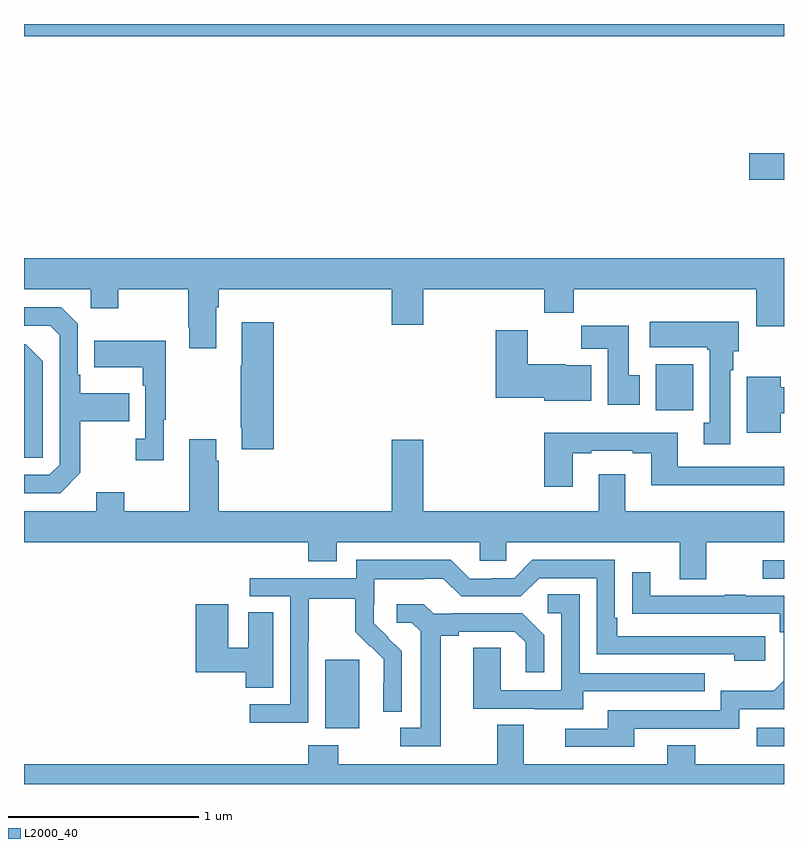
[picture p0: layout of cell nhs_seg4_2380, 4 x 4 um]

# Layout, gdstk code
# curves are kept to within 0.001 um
import gdstk
lib = gdstk.Library(unit=1e-6, precision=1e-09)
def R(c, l, rs):  # rectangles x0, y0, x1, y1
    for r in rs: c.add(gdstk.rectangle(r[:2], r[2:], *l))
def P(c, l, *ps):  # polygons
    for p in ps: c.add(gdstk.Polygon(p, *l))
L2000_40 = (2000, 40)

nhs_seg4_2380 = lib.new_cell('nhs_seg4_2380')
R(nhs_seg4_2380, L2000_40, [(238.857,777.099,239,777.195), (236.585,777.194,236.764,777.555), (238.887,777.981,239,778.077), (238.325,778.868,238.522,779.11), (238.818,780.079,239,780.221), (235,780.836,239,780.9)])
P(nhs_seg4_2380, L2000_40, [(236.011,779.408),(236.024,779.408),(236.024,779.504),(236.936,779.504),(236.936,779.316),(237.1,779.316),(237.1,779.504),(237.737,779.504),(237.737,779.38),(237.893,779.38),(237.893,779.504),(238.853,779.504),(238.853,779.31),(239,779.31),(239,779.668),(235,779.668),(235,779.504),(235.35,779.504),(235.35,779.405),(235.497,779.405),(235.497,779.504),(235.864,779.504),(235.864,779.305),(235.871,779.305),(235.871,779.193),(236.011,779.193)],
  [(235.297,778.537),(235.297,778.81),(235.553,778.81),(235.553,778.957),(235.297,778.957),(235.297,779.053),(235.284,779.053),(235.284,779.322),(235.197,779.409),(235,779.409),(235,779.313),(235.137,779.313),(235.188,779.262),(235.188,778.581),(235.134,778.527),(235,778.527),(235,778.431),(235.191,778.431)],
  [(238.717,779.078),(238.732,779.078),(238.732,779.178),(238.762,779.178),(238.762,779.332),(238.293,779.332),(238.293,779.198),(238.597,779.198),(238.597,779.185),(238.61,779.185),(238.61,778.802),(238.577,778.802),(238.577,778.689),(238.717,778.689)],
  [(236.315,779.329),(236.147,779.329),(236.147,779.105),(236.14,779.105),(236.14,778.774),(236.147,778.774),(236.147,778.662),(236.315,778.662)],
  [(238.24,779.052),(238.183,779.052),(238.183,779.311),(237.934,779.311),(237.934,779.192),(238.073,779.192),(238.073,778.896),(238.24,778.896)],
  [(237.985,779.104),(237.852,779.104),(237.852,779.11),(237.652,779.11),(237.652,779.287),(237.482,779.287),(237.482,778.934),(237.738,778.934),(237.738,778.916),(237.985,778.916)],
  [(235.735,778.817),(235.747,778.817),(235.747,779.233),(235.369,779.233),(235.369,779.093),(235.626,779.093),(235.626,778.997),(235.638,778.997),(235.638,778.718),(235.587,778.718),(235.587,778.605),(235.735,778.605)],
  [(235.098,779.124),(235.008,779.214),(235,779.214),(235,779.066),(235.002,779.064),(235.002,778.81),(235,778.81),(235,778.617),(235.098,778.617)],
  [(238.984,778.852),(239,778.852),(239,778.988),(238.984,778.988),(238.984,779.044),(238.805,779.044),(238.805,778.748),(238.984,778.748)],
  [(237.889,778.641),(237.985,778.641),(237.985,778.653),(238.205,778.653),(238.205,778.641),(238.301,778.641),(238.301,778.472),(239,778.472),(239,778.569),(238.441,778.569),(238.441,778.75),(237.737,778.75),(237.737,778.464),(237.889,778.464)],
  [(238.591,778.172),(239,778.172),(239,778.336),(238.165,778.336),(238.165,778.531),(238.025,778.531),(238.025,778.336),(237.1,778.336),(237.1,778.711),(236.936,778.711),(236.936,778.336),(236.024,778.336),(236.024,778.601),(236.011,778.601),(236.011,778.714),(235.871,778.714),(235.871,778.336),(235.527,778.336),(235.527,778.435),(235.379,778.435),(235.379,778.336),(235,778.336),(235,778.172),(236.495,778.172),(236.495,778.073),(236.647,778.073),(236.647,778.172),(237.399,778.172),(237.399,778.074),(237.537,778.074),(237.537,778.172),(238.451,778.172),(238.451,777.978),(238.591,777.978)],
  [(236.496,777.652),(236.499,777.652),(236.499,777.876),(236.743,777.876),(236.743,777.701),(236.82,777.624),(236.823,777.627),(236.894,777.557),(236.894,777.434),(236.892,777.434),(236.892,777.28),(236.988,777.28),(236.988,777.598),(236.842,777.746),(236.842,777.843),(236.844,777.843),(236.844,777.977),(237.107,777.977),(237.107,777.981),(237.207,777.981),(237.3,777.888),(237.615,777.888),(237.711,777.984),(238.014,777.984),(238.014,777.582),(238.739,777.582),(238.739,777.548),(238.9,777.548),(238.9,777.678),(238.123,777.678),(238.123,777.775),(238.11,777.775),(238.11,778.08),(237.675,778.08),(237.579,777.984),(237.461,777.984),(237.461,777.981),(237.345,777.981),(237.245,778.081),(236.748,778.081),(236.748,777.984),(236.187,777.984),(236.187,777.888),(236.4,777.888),(236.4,777.321),(236.187,777.321),(236.187,777.223),(236.496,777.223)],
  [(238.213,777.192),(238.764,777.192),(238.764,777.294),(239,777.294),(239,777.891),(238.799,777.891),(238.799,777.896),(238.687,777.896),(238.687,777.891),(238.297,777.891),(238.297,778.015),(238.201,778.015),(238.201,777.796),(238.978,777.795),(238.978,777.698),(238.998,777.698),(238.998,777.444),(238.945,777.391),(238.668,777.391),(238.668,777.288),(238.073,777.288),(238.073,777.192),(237.849,777.192),(237.849,777.096),(238.213,777.096)],
  [(237.943,777.387),(238.583,777.387),(238.583,777.483),(237.924,777.483),(237.924,777.899),(237.756,777.899),(237.756,777.798),(237.828,777.798),(237.828,777.393),(237.51,777.393),(237.51,777.617),(237.365,777.617),(237.365,777.297),(237.689,777.297),(237.689,777.293),(237.943,777.293)],
  [(237.193,777.68),(237.289,777.68),(237.289,777.702),(237.584,777.702),(237.641,777.645),(237.641,777.489),(237.738,777.489),(237.738,777.682),(237.622,777.798),(237.25,777.798),(237.25,777.795),(237.156,777.795),(237.104,777.847),(236.961,777.847),(236.961,777.75),(237.042,777.75),(237.089,777.703),(237.089,777.195),(236.979,777.195),(236.979,777.099),(237.193,777.099)],
  [(236.311,777.803),(236.18,777.803),(236.18,777.616),(236.074,777.616),(236.074,777.847),(235.904,777.847),(235.904,777.487),(236.168,777.487),(236.168,777.406),(236.311,777.406)],
  [(236.655,777.103),(236.495,777.103),(236.495,777.004),(235,777.004),(235,776.9),(239,776.9),(239,777.004),(238.533,777.004),(238.533,777.103),(238.385,777.103),(238.385,777.004),(237.631,777.004),(237.631,777.212),(237.491,777.212),(237.491,777.004),(236.655,777.004)])

lib.write_gds('nhs_seg4_2380.gds')
